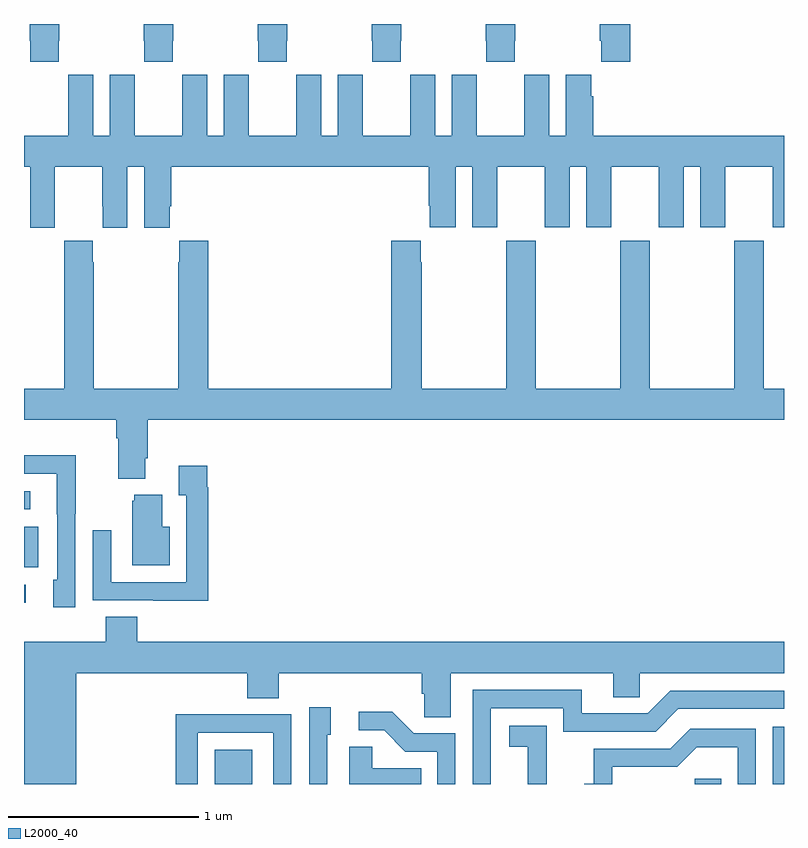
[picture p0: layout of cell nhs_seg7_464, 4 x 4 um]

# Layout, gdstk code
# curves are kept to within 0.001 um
import gdstk
lib = gdstk.Library(unit=1e-6, precision=1e-09)
def R(c, l, rs):  # rectangles x0, y0, x1, y1
    for r in rs: c.add(gdstk.rectangle(r[:2], r[2:], *l))
def P(c, l, *ps):  # polygons
    for p in ps: c.add(gdstk.Polygon(p, *l))
L2000_40 = (2000, 40)

nhs_seg7_464 = lib.new_cell('nhs_seg7_464')
R(nhs_seg7_464, L2000_40, [(148.004,1032,148.201,1032.181), (150.531,1032,150.671,1032.027), (150.942,1032,151,1032.301), (147,1032.953,147.01,1033.05), (147,1033.142,147.076,1033.354), (147,1033.446,147.034,1033.542)])
P(nhs_seg7_464, L2000_40, [(150.191,1036),(150.031,1036),(150.031,1035.913),(150.037,1035.913),(150.037,1035.801),(150.191,1035.801)],
  [(149.583,1035.913),(149.586,1035.913),(149.586,1036),(149.431,1036),(149.431,1035.913),(149.433,1035.913),(149.433,1035.801),(149.583,1035.801)],
  [(148.983,1035.913),(148.986,1035.913),(148.986,1036),(148.831,1036),(148.831,1035.913),(148.833,1035.913),(148.833,1035.801),(148.983,1035.801)],
  [(148.383,1035.913),(148.386,1035.913),(148.386,1036),(148.231,1036),(148.231,1035.913),(148.233,1035.913),(148.233,1035.801),(148.383,1035.801)],
  [(147.783,1035.913),(147.786,1035.913),(147.786,1036),(147.631,1036),(147.631,1035.913),(147.633,1035.913),(147.633,1035.801),(147.783,1035.801)],
  [(147.183,1035.913),(147.186,1035.913),(147.186,1036),(147.031,1036),(147.031,1035.913),(147.033,1035.913),(147.033,1035.801),(147.183,1035.801)],
  [(148.652,1035.733),(148.652,1035.412),(148.564,1035.412),(148.564,1035.733),(148.434,1035.733),(148.434,1035.62),(148.433,1035.62),(148.433,1035.412),(148.183,1035.412),(148.183,1035.62),(148.182,1035.62),(148.182,1035.733),(148.052,1035.733),(148.052,1035.412),(147.964,1035.412),(147.964,1035.733),(147.834,1035.733),(147.834,1035.62),(147.833,1035.62),(147.833,1035.412),(147.583,1035.412),(147.583,1035.62),(147.582,1035.62),(147.582,1035.733),(147.452,1035.733),(147.452,1035.412),(147.364,1035.412),(147.364,1035.733),(147.234,1035.733),(147.234,1035.62),(147.233,1035.62),(147.233,1035.412),(147,1035.412),(147,1035.248),(147.032,1035.248),(147.032,1034.928),(147.162,1034.928),(147.162,1035.04),(147.163,1035.04),(147.163,1035.248),(147.413,1035.248),(147.413,1035.04),(147.414,1035.04),(147.414,1034.928),(147.544,1034.928),(147.544,1035.248),(147.632,1035.248),(147.632,1034.928),(147.766,1034.928),(147.766,1035.04),(147.776,1035.04),(147.776,1035.248),(149.129,1035.248),(149.129,1035.043),(149.135,1035.043),(149.135,1034.93),(149.272,1034.93),(149.272,1035.248),(149.36,1035.248),(149.36,1034.93),(149.491,1034.93),(149.491,1035.248),(149.741,1035.248),(149.741,1034.93),(149.872,1034.93),(149.872,1035.248),(149.96,1035.248),(149.96,1034.93),(150.091,1034.93),(150.091,1035.248),(150.341,1035.248),(150.341,1034.93),(150.472,1034.93),(150.472,1035.248),(150.56,1035.248),(150.56,1034.93),(150.691,1034.93),(150.691,1035.248),(150.941,1035.248),(150.941,1034.93),(151,1034.93),(151,1035.412),(149.996,1035.412),(149.996,1035.62),(149.986,1035.62),(149.986,1035.733),(149.852,1035.733),(149.852,1035.412),(149.764,1035.412),(149.764,1035.733),(149.634,1035.733),(149.634,1035.62),(149.633,1035.62),(149.633,1035.412),(149.383,1035.412),(149.383,1035.62),(149.382,1035.62),(149.382,1035.733),(149.252,1035.733),(149.252,1035.412),(149.164,1035.412),(149.164,1035.733),(149.034,1035.733),(149.034,1035.62),(149.033,1035.62),(149.033,1035.412),(148.783,1035.412),(148.783,1035.62),(148.782,1035.62),(148.782,1035.733)],
  [(147.637,1033.714),(147.65,1033.714),(147.65,1033.916),(151,1033.916),(151,1034.08),(150.894,1034.08),(150.894,1034.86),(150.739,1034.86),(150.739,1034.08),(150.294,1034.08),(150.294,1034.86),(150.139,1034.86),(150.139,1034.08),(149.694,1034.08),(149.694,1034.86),(149.539,1034.86),(149.539,1034.08),(149.094,1034.08),(149.094,1034.747),(149.089,1034.747),(149.089,1034.86),(148.934,1034.86),(148.934,1034.08),(147.971,1034.08),(147.971,1034.86),(147.817,1034.86),(147.817,1034.747),(147.811,1034.747),(147.811,1034.08),(147.366,1034.08),(147.366,1034.747),(147.363,1034.747),(147.363,1034.86),(147.213,1034.86),(147.213,1034.747),(147.211,1034.747),(147.211,1034.08),(147,1034.08),(147,1033.916),(147.485,1033.916),(147.485,1033.82),(147.497,1033.82),(147.497,1033.607),(147.637,1033.607)],
  [(147.27,1033.423),(147.273,1033.423),(147.273,1033.73),(147,1033.73),(147,1033.632),(147.173,1033.632),(147.173,1033.42),(147.174,1033.42),(147.174,1033.074),(147.155,1033.074),(147.155,1032.93),(147.27,1032.93)],
  [(147.971,1033.562),(147.964,1033.562),(147.964,1033.675),(147.815,1033.675),(147.815,1033.519),(147.855,1033.519),(147.855,1033.062),(147.459,1033.062),(147.459,1033.336),(147.363,1033.336),(147.363,1032.966),(147.679,1032.966),(147.679,1032.965),(147.971,1032.965)],
  [(147.766,1033.354),(147.727,1033.354),(147.727,1033.522),(147.581,1033.522),(147.581,1033.491),(147.569,1033.491),(147.569,1033.151),(147.766,1033.151)],
  [(147.274,1032.584),(148.175,1032.584),(148.175,1032.451),(148.34,1032.451),(148.34,1032.584),(149.093,1032.584),(149.093,1032.475),(149.106,1032.475),(149.106,1032.352),(149.245,1032.352),(149.245,1032.584),(150.101,1032.584),(150.101,1032.457),(150.24,1032.457),(150.24,1032.584),(151,1032.584),(151,1032.748),(147.596,1032.748),(147.596,1032.881),(147.431,1032.881),(147.431,1032.748),(147,1032.748),(147,1032),(147.274,1032)],
  [(149.457,1032.399),(149.838,1032.399),(149.838,1032.276),(150.324,1032.276),(150.444,1032.396),(151,1032.396),(151,1032.492),(150.402,1032.492),(150.282,1032.372),(149.935,1032.372),(149.935,1032.495),(149.361,1032.495),(149.361,1032),(149.457,1032)],
  [(148.596,1032.258),(148.615,1032.258),(148.615,1032.403),(148.5,1032.403),(148.5,1032),(148.596,1032)],
  [(149.271,1032.267),(149.052,1032.267),(148.939,1032.38),(148.761,1032.38),(148.761,1032.282),(148.895,1032.282),(149.006,1032.171),(149.175,1032.171),(149.175,1032),(149.271,1032)],
  [(147.915,1032.27),(148.311,1032.27),(148.311,1032),(148.407,1032),(148.407,1032.366),(148.091,1032.366),(148.091,1032.368),(147.799,1032.368),(147.799,1032),(147.915,1032)],
  [(149.75,1032.101),(149.751,1032.101),(149.751,1032.307),(149.553,1032.307),(149.553,1032.197),(149.651,1032.197),(149.651,1032),(149.75,1032)],
  [(150.096,1032.09),(150.438,1032.09),(150.542,1032.194),(150.756,1032.194),(150.756,1032),(150.852,1032),(150.852,1032.291),(150.506,1032.291),(150.401,1032.186),(149.998,1032.186),(149.998,1032.001),(149.949,1032),(150.096,1032)],
  [(149.09,1032.082),(148.833,1032.082),(148.833,1032.197),(148.712,1032.197),(148.712,1032),(149.09,1032)])

lib.write_gds('nhs_seg7_464.gds')
